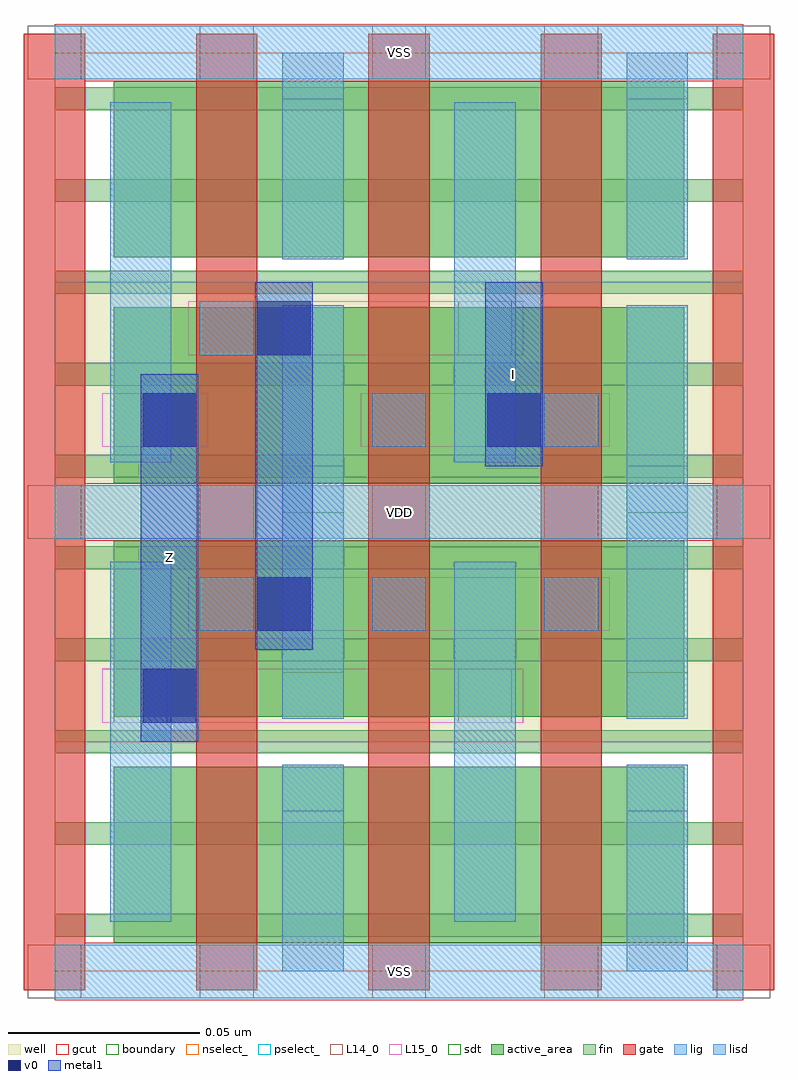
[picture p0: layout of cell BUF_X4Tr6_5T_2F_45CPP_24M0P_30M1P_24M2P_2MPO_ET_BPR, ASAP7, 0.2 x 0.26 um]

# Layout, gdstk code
import gdstk
lib = gdstk.Library(unit=1e-6, precision=2.5e-10)
def R(c, l, rs):  # rectangles x0, y0, x1, y1
    for r in rs: c.add(gdstk.rectangle(r[:2], r[2:], *l))
def A(c, l, x, y, w, h, nx, ny, dx, dy):  # array of equal rectangles
    R(c, l, [(x+i*dx, y+j*dy, x+i*dx+w, y+j*dy+h) for i in range(nx) for j in range(ny)])
well = (1, 0)
fin = (2, 0)
gate = (7, 0)
gcut = (10, 0)
active_area = (11, 0)
nselect_ = (12, 0)
pselect_ = (13, 0)
L14_0 = (14, 0)
L15_0 = (15, 0)
lig = (16, 0)
lisd = (17, 0)
v0 = (18, 0)
metal1 = (19, 0)
sdt = (88, 0)
boundary = (100, 0)

buf_x4tr6_5t_2f_45cpp_24 = lib.new_cell('BUF_X4Tr6_5T_2F_45CPP_24M0P_30M1P_24M2P_2MPO_ET_BPR')
R(buf_x4tr6_5t_2f_45cpp_24, well, [(0,0.06,0.18,0.12), (0,0.12,0.18,0.18)])
A(buf_x4tr6_5t_2f_45cpp_24, fin, 0, 0.009, 0.18, 0.006, 1, 10, 0, 0.024)
A(buf_x4tr6_5t_2f_45cpp_24, gate, -0.008, -0.005, 0.016, 0.13, 5, 2, 0.045, 0.12)
A(buf_x4tr6_5t_2f_45cpp_24, gcut, 0, -0.0075, 0.18, 0.015, 1, 3, 0, 0.12)
R(buf_x4tr6_5t_2f_45cpp_24, gcut, [(-0.008,-0.005,0.008,0.245), (0.172,-0.005,0.188,0.245)])
R(buf_x4tr6_5t_2f_45cpp_24, active_area, [(0.0155,0.0075,0.1645,0.0535), (0.0155,0.0665,0.1645,0.1125), (0.0155,0.1275,0.0745,0.1735), (0.0605,0.1275,0.1645,0.1735), (0.0155,0.1865,0.0745,0.2325), (0.0605,0.1865,0.1645,0.2325)])
R(buf_x4tr6_5t_2f_45cpp_24, nselect_, [(0,0,0.18,0.06), (0,0.18,0.18,0.24)])
R(buf_x4tr6_5t_2f_45cpp_24, pselect_, [(0,0.06,0.18,0.12), (0,0.12,0.18,0.18)])
A(buf_x4tr6_5t_2f_45cpp_24, L14_0, -0.007, -0.007, 0.014, 0.014, 5, 3, 0.045, 0.12)
A(buf_x4tr6_5t_2f_45cpp_24, L14_0, 0.038, 0.089, 0.014, 0.014, 3, 1, 0.045, 0)
R(buf_x4tr6_5t_2f_45cpp_24, L14_0, [(0.0155,0.065,0.0295,0.079), (0.1055,0.065,0.1195,0.079), (0.0155,0.137,0.0295,0.151), (0.083,0.137,0.097,0.151), (0.128,0.137,0.142,0.151), (0.038,0.161,0.052,0.175), (0.1055,0.161,0.1195,0.175)])
A(buf_x4tr6_5t_2f_45cpp_24, L15_0, 0, -0.007, 0.18, 0.014, 1, 3, 0, 0.12)
R(buf_x4tr6_5t_2f_45cpp_24, L15_0, [(0.0125,0.065,0.1225,0.079), (0.035,0.089,0.145,0.103), (0.0125,0.137,0.04,0.151), (0.08,0.137,0.145,0.151), (0.035,0.161,0.1225,0.175)])
A(buf_x4tr6_5t_2f_45cpp_24, lig, 0, -0.007, 0.18, 0.014, 1, 3, 0, 0.12)
A(buf_x4tr6_5t_2f_45cpp_24, lig, 0.038, 0.089, 0.014, 0.014, 3, 1, 0.045, 0)
R(buf_x4tr6_5t_2f_45cpp_24, lig, [(0.083,0.137,0.097,0.151), (0.128,0.137,0.142,0.151), (0.038,0.161,0.052,0.175)])
R(buf_x4tr6_5t_2f_45cpp_24, lisd, [(0.0595,0,0.0755,0.054), (0.1495,0,0.1655,0.054), (0.0145,0.013,0.0305,0.107), (0.1045,0.013,0.1205,0.107), (0.0595,0.066,0.0755,0.12), (0.1495,0.066,0.1655,0.12), (0.0595,0.12,0.0755,0.174), (0.1495,0.12,0.1655,0.174), (0.0145,0.133,0.0305,0.227), (0.1045,0.133,0.1205,0.227), (0.0595,0.186,0.0755,0.24), (0.1495,0.186,0.1655,0.24)])
R(buf_x4tr6_5t_2f_45cpp_24, v0, [(0.023,0.065,0.037,0.079), (0.053,0.089,0.067,0.103), (0.023,0.137,0.037,0.151), (0.113,0.137,0.127,0.151), (0.053,0.161,0.067,0.175)])
R(buf_x4tr6_5t_2f_45cpp_24, metal1, [(0.0225,0.06,0.0375,0.156), (0.0525,0.084,0.0675,0.18), (0.1125,0.132,0.1275,0.18)])
A(buf_x4tr6_5t_2f_45cpp_24, sdt, 0.0595, 0.078, 0.016, 0.042, 1, 3, 0, 0.054)
A(buf_x4tr6_5t_2f_45cpp_24, sdt, 0.1495, 0.078, 0.016, 0.042, 1, 3, 0, 0.054)
R(buf_x4tr6_5t_2f_45cpp_24, sdt, [(0.0595,0,0.0755,0.042), (0.1495,0,0.1655,0.042), (0.0145,0.013,0.0305,0.107), (0.1045,0.013,0.1205,0.107), (0.0145,0.133,0.0305,0.227), (0.1045,0.133,0.1205,0.227)])
R(buf_x4tr6_5t_2f_45cpp_24, boundary, [(0,0,0.18,0.24)])
buf_x4tr6_5t_2f_45cpp_24.add(gdstk.Label('Z', (0.03,0.108), layer=19, texttype=251))
buf_x4tr6_5t_2f_45cpp_24.add(gdstk.Label('I', (0.12,0.156), layer=19, texttype=251))
buf_x4tr6_5t_2f_45cpp_24.add(gdstk.Label('VDD', (0.09,0.12), layer=15, texttype=251))
buf_x4tr6_5t_2f_45cpp_24.add(gdstk.Label('VSS', (0.09,0), layer=15, texttype=251))
buf_x4tr6_5t_2f_45cpp_24.add(gdstk.Label('VSS', (0.09,0.24), layer=15, texttype=251))
buf_x4tr6_5t_2f_45cpp_24.add(gdstk.Label('VDD', (0.09,0.12), layer=1, texttype=251))
buf_x4tr6_5t_2f_45cpp_24.add(gdstk.Label('VSS', (0.09,0), layer=3, texttype=251))
buf_x4tr6_5t_2f_45cpp_24.add(gdstk.Label('VSS', (0.09,0.24), layer=3, texttype=251))

lib.write_gds('BUF_X4Tr6_5T_2F_45CPP_24M0P_30M1P_24M2P_2MPO_ET_BPR.gds')
